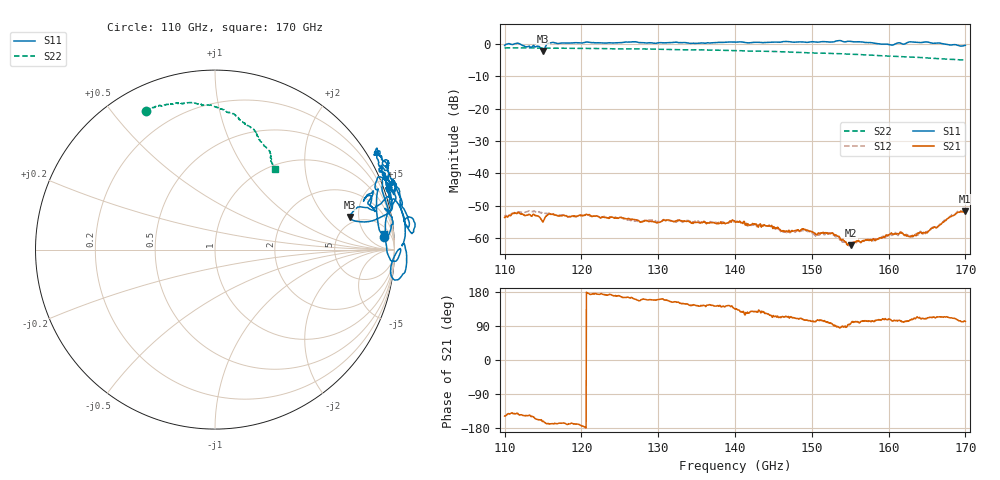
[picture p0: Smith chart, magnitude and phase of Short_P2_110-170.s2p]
! Generated by S-View
! Download App: https://apps.microsoft.com/detail/9MT55KNCWHML
! Source: FR3YA_Short_mTRLcal_HL2.s2p [Renumber [2,1]]
! Exported: 2026-03-03 19:57:04
! Note: Exported from a derived (virtual) item.
# HZ S DB R 50
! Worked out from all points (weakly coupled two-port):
!   1471 points, 110 GHz to 170 GHz, reference 50 ohm
!   highest |S21| = -51.54 dB at 170 GHz (marker M1); lowest = -62.2 dB at 155.1 GHz (marker M2)
!   lowest |S11| = -2.3 dB at 115 GHz (marker M3), VSWR 7.74, Z = 211 + j190 ohm
!   |S11| at or under -10 dB: nowhere
!   |S22| runs from -5.0 to -1.2 dB; largest |S21 - S12| = 0.0016
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1.1e11  -0.52 4.3  -53.59 -147.9  -53.23 -119.0  -1.31 116.4
1.117959e11  0.11 16.7  -52.01 -143.0  -51.90 -130.4  -1.28 113.8
1.149796e11  -2.26 13.7  -54.99 -161.7  -52.23 -147.4  -1.32 110.9
1.159592e11  0.25 14.7  -52.54 -168.3  -52.51 -153.5  -1.38 110.2
1.2e11  0.20 22.6  -52.96 -173.3  -52.93 -164.0  -1.45 107.0
1.27551e11  0.35 18.3  -54.75 156.4  -55.01 175.0  -1.60 100.2
1.3e11  0.28 25.7  -55.06 159.5  -54.75 171.4  -1.69 97.6
1.343673e11  0.14 16.8  -55.20 144.1  -55.29 157.7  -1.87 93.2
1.376327e11  0.37 30.6  -55.53 142.5  -55.24 147.0  -1.99 89.8
1.4e11  0.46 30.1  -54.89 134.5  -54.73 141.4  -2.11 87.3
1.5e11  0.63 25.9  -58.02 102.2  -58.36 116.9  -2.81 76.9
1.531429e11  0.82 4.7  -58.95 90.1  -59.33 113.5  -3.04 72.6
1.55102e11  0.69 10.9  -62.17 97.7  -61.92 125.6  -3.22 70.8
1.578367e11  0.30 22.9  -60.57 102.8  -60.52 129.4  -3.52 68.5
1.6e11  -0.22 10.9  -59.04 108.3  -58.66 142.0  -3.80 65.6
1.607755e11  -0.18 -3.5  -58.53 104.1  -58.42 140.3  -3.89 64.2
1.623265e11  0.21 -9.5  -59.31 102.4  -58.78 138.7  -4.03 61.7
1.647755e11  0.55 6.0  -58.22 109.8  -58.51 147.8  -4.33 59.2
1.669388e11  0.06 23.7  -55.41 114.2  -55.48 149.2  -4.65 57.7
1.687755e11  -0.31 19.9  -52.42 108.5  -52.22 144.8  -4.89 55.4
1.699592e11  -0.49 5.4  -51.54 102.3  -51.59 135.4  -5.04 53.1
1.7e11  -0.48 5.4  -51.60 101.9  -51.59 135.8  -5.05 52.9
